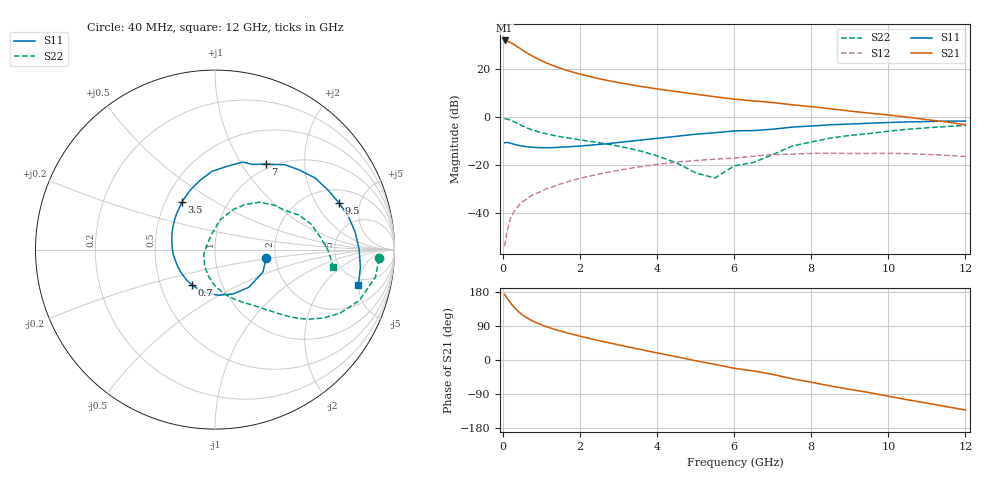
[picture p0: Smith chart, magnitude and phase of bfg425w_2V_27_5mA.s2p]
! Filename: 227bfg425.001
! BFG425W Field C1
! V1=8.688E-001V,V2=2.000E+000V, I1=3.977E-004A, I2=2.753E-002A
# GHz  S  MA  R 50
!  S11  S21  S12  S22
!Freq(GHz)  Mag  Ang  Mag  Ang  Mag  Ang  Mag  Ang
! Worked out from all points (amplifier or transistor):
!   44 points, 40 MHz to 12 GHz, reference 50 ohm
!   highest |S21| = 32.0 dB at 40 MHz (marker M1)
!   |S21| within 3 dB of that: start of sweep to 408.4 MHz
!   unconditionally stable (mu >= 1): start of sweep to 42.64 MHz; 1.094 GHz to end of sweep
!   at 700 MHz: K = 0.84, MSG = 29.6 dB, |S12| = -33.2 dB
!   at 2.4 GHz: K = 1.17, MAG = 17.7 dB, |S12| = -24.2 dB
!   at 12 GHz: K = 1.35, MAG = 3.1 dB, |S12| = -16.5 dB
!   S11 on the Smith chart (normalised r, x): 40 MHz: 1.79, -0.18; 700 MHz: 0.72, -0.30; 3.5 GHz: 0.61, +0.36; 7 GHz: 0.94, +1.29; 9.5 GHz: 2.79, +3.18; 12 GHz: 4.03, -4.96
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0.04  0.289 -9.0  39.61 173.2  0.002 72.1  0.915 -3.1
0.1  0.295 -25.3  38.56 164.1  0.004 82.3  0.907 -9.7
0.2  0.282 -48.3  35.63 149.7  0.008 76.0  0.853 -19.4
0.3  0.267 -67.8  31.96 137.8  0.011 72.1  0.782 -26.9
0.4  0.255 -85.3  28.33 127.8  0.014 68.6  0.712 -32.4
0.5  0.247 -100.6  25.09 119.2  0.017 66.4  0.651 -36.6
0.6  0.24 -112.7  22.29 112.4  0.019 65.3  0.6 -39.6
0.7  0.235 -123.0  19.96 106.6  0.022 64.1  0.557 -42.0
0.9  0.229 -140.1  16.35 96.8  0.026 62.9  0.494 -45.7
1.2  0.228 -159.0  12.72 85.4  0.033 60.9  0.43 -50.3
1.7  0.238 177.8  9.173 70.6  0.045 56.8  0.363 -57.3
2.2  0.255 160.2  7.134 58.0  0.057 51.3  0.314 -65.2
2.8  0.282 142.4  5.595 44.2  0.072 43.9  0.262 -75.7
3.5  0.324 124.5  4.441 29.1  0.09 34.0  0.201 -90.2
4.5  0.394 102.5  3.382 8.5  0.114 18.7  0.11 -121.3
5.5  0.468 82.0  2.64 -11.6  0.131 2.8  0.053 146.1
6.5  0.519 66.2  2.163 -28.9  0.152 -9.9  0.112 91.1
7  0.555 59.2  1.996 -38.1  0.164 -17.8  0.164 81.5
8.5  0.686 35.5  1.485 -68.6  0.176 -46.8  0.362 46.9
9.5  0.738 20.6  1.204 -85.9  0.173 -63.3  0.449 28.9
10.5  0.787 7.1  0.991 -105.0  0.171 -81.6  0.554 14.8
12  0.823 -14.0  0.687 -131.9  0.149 -110.8  0.667 -8.6
